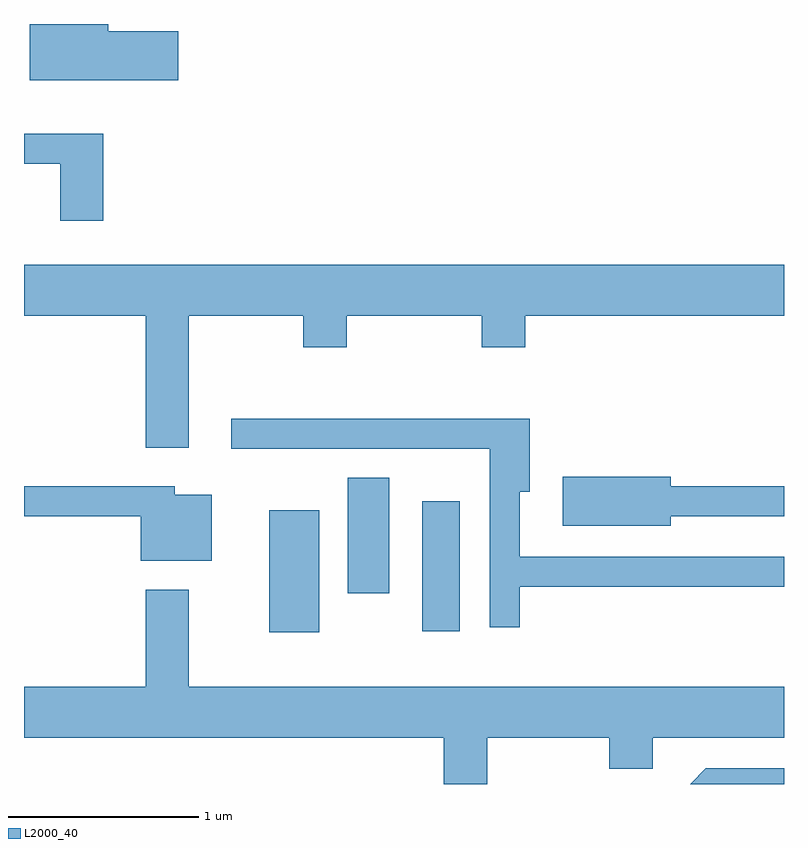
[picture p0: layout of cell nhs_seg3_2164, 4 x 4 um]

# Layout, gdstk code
import gdstk
lib = gdstk.Library(unit=1e-6, precision=1e-09)
def R(c, l, rs):  # rectangles x0, y0, x1, y1
    for r in rs: c.add(gdstk.rectangle(r[:2], r[2:], *l))
def P(c, l, *ps):  # polygons
    for p in ps: c.add(gdstk.Polygon(p, *l))
L2000_40 = (2000, 40)

nhs_seg3_2164 = lib.new_cell('nhs_seg3_2164')
R(nhs_seg3_2164, L2000_40, [(248.901,1228.691,249.164,1229.334), (249.706,1228.696,249.904,1229.379), (249.316,1228.896,249.534,1229.504)])
P(nhs_seg3_2164, L2000_40, [(248.424,1231.854),(248.054,1231.854),(248.054,1231.892),(247.641,1231.892),(247.641,1231.596),(248.424,1231.596)],
  [(248.029,1231.314),(247.611,1231.314),(247.611,1231.156),(247.801,1231.156),(247.801,1230.856),(248.029,1230.856)],
  [(247.611,1230.356),(248.251,1230.356),(248.251,1229.661),(248.479,1229.661),(248.479,1230.356),(249.081,1230.356),(249.081,1230.191),(249.309,1230.191),(249.309,1230.356),(250.021,1230.356),(250.021,1230.191),(250.249,1230.191),(250.249,1230.356),(251.611,1230.356),(251.611,1230.624),(247.611,1230.624)],
  [(250.219,1228.931),(251.611,1228.931),(251.611,1229.089),(250.219,1229.089),(250.219,1229.431),(250.274,1229.431),(250.274,1229.814),(248.703,1229.814),(248.703,1229.656),(250.061,1229.656),(250.061,1228.718),(250.219,1228.718)],
  [(251.014,1229.301),(251.611,1229.301),(251.611,1229.459),(251.014,1229.459),(251.014,1229.509),(250.446,1229.509),(250.446,1229.251),(251.014,1229.251)],
  [(248.599,1229.414),(248.404,1229.414),(248.404,1229.459),(247.611,1229.459),(247.611,1229.301),(248.226,1229.301),(248.226,1229.066),(248.599,1229.066)],
  [(250.049,1228.136),(250.691,1228.136),(250.691,1227.971),(250.919,1227.971),(250.919,1228.136),(251.611,1228.136),(251.611,1228.404),(248.479,1228.404),(248.479,1228.914),(248.251,1228.914),(248.251,1228.404),(247.611,1228.404),(247.611,1228.136),(249.821,1228.136),(249.821,1227.892),(250.049,1227.892)],
  [(251.611,1227.974),(251.199,1227.974),(251.117,1227.892),(251.611,1227.892)])

lib.write_gds('nhs_seg3_2164.gds')
